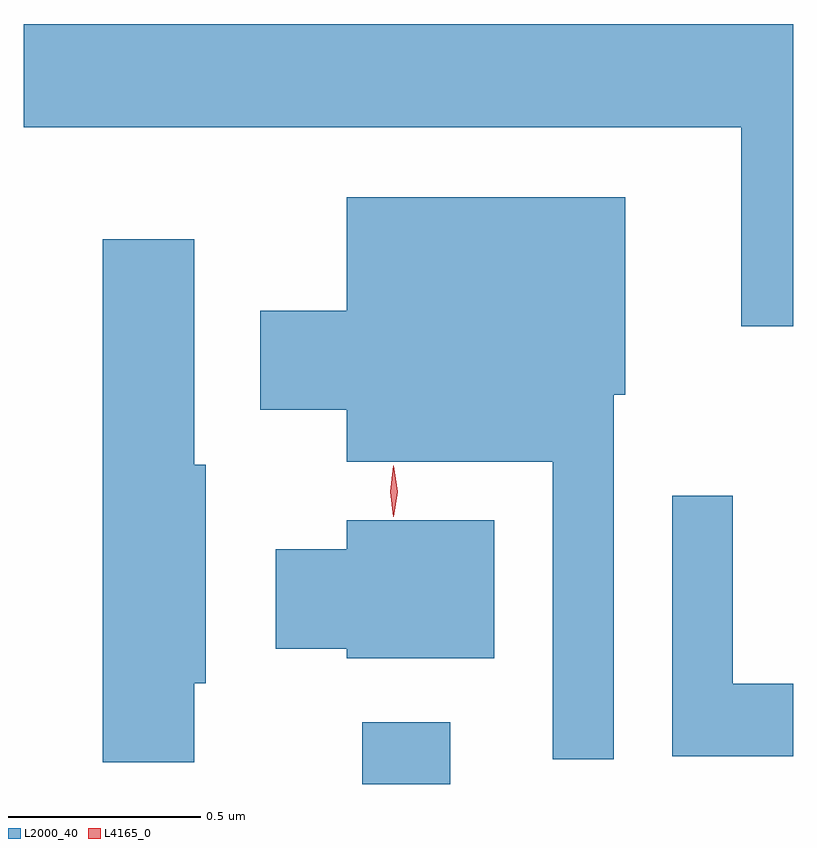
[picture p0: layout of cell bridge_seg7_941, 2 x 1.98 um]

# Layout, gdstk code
import gdstk
lib = gdstk.Library(unit=1e-6, precision=1e-09)
def R(c, l, rs):  # rectangles x0, y0, x1, y1
    for r in rs: c.add(gdstk.rectangle(r[:2], r[2:], *l))
def P(c, l, *ps):  # polygons
    for p in ps: c.add(gdstk.Polygon(p, *l))
L2000_40 = (2000, 40)
L4165_0 = (4165, 0)

bridge_seg7_941 = lib.new_cell('bridge_seg7_941')
R(bridge_seg7_941, L2000_40, [(431.641,1672.649,431.869,1672.809)])
P(bridge_seg7_941, L2000_40, [(432.761,1674.624),(430.761,1674.624),(430.761,1674.356),(432.626,1674.356),(432.626,1673.838),(432.761,1673.838)],
  [(432.294,1673.661),(432.324,1673.661),(432.324,1674.174),(431.601,1674.174),(431.601,1673.879),(431.376,1673.879),(431.376,1673.621),(431.601,1673.621),(431.601,1673.486),(432.136,1673.486),(432.136,1672.713),(432.294,1672.713)],
  [(431.204,1672.911),(431.234,1672.911),(431.234,1673.479),(431.204,1673.479),(431.204,1674.064),(430.966,1674.064),(430.966,1672.706),(431.204,1672.706)],
  [(432.761,1672.909),(432.604,1672.909),(432.604,1673.398),(432.446,1673.398),(432.446,1672.721),(432.761,1672.721)],
  [(431.984,1673.334),(431.601,1673.334),(431.601,1673.259),(431.416,1673.259),(431.416,1673.001),(431.601,1673.001),(431.601,1672.976),(431.984,1672.976)])
P(bridge_seg7_941, L4165_0, [(431.722,1673.343),(431.713,1673.409),(431.722,1673.476),(431.723,1673.476),(431.723,1673.476),(431.733,1673.409),(431.723,1673.343),(431.723,1673.343)])

lib.write_gds('bridge_seg7_941.gds')
